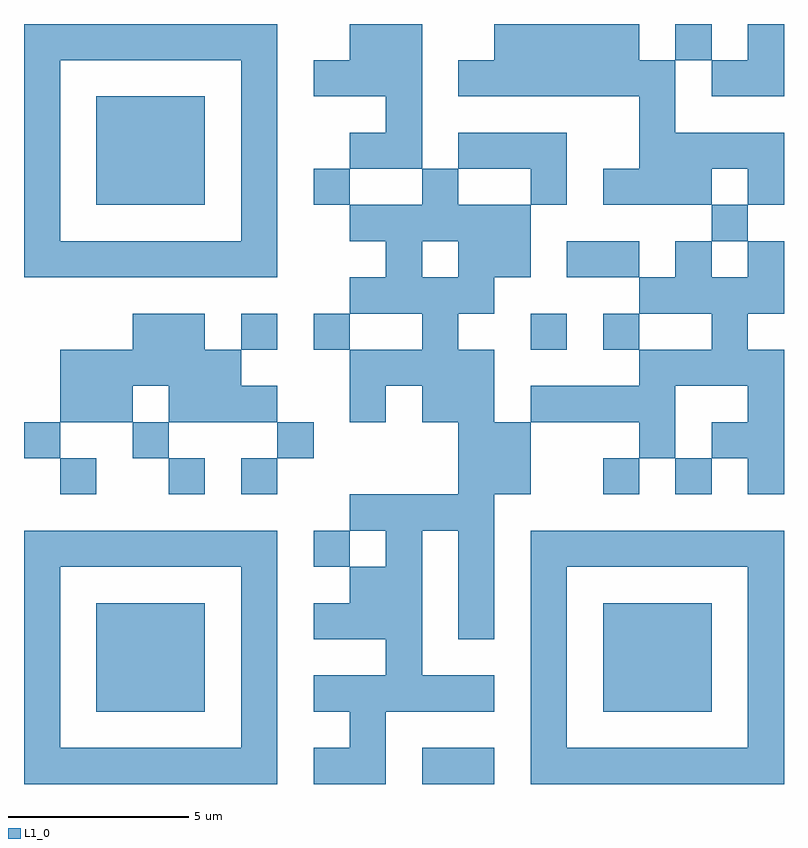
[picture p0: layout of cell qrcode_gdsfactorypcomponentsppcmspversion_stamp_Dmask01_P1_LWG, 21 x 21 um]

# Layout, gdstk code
import gdstk
lib = gdstk.Library(unit=1e-6, precision=1e-09)
def R(c, l, rs):  # rectangles x0, y0, x1, y1
    for r in rs: c.add(gdstk.rectangle(r[:2], r[2:], *l))
def P(c, l, *ps):  # polygons
    for p in ps: c.add(gdstk.Polygon(p, *l))
L1_0 = (1, 0)

qrcode_gdsfactorypcompon = lib.new_cell('qrcode_gdsfactorypcomponentsppcmspversion_stamp_Dmask01_P1_LWG')
R(qrcode_gdsfactorypcompon, L1_0, [(14.5,3.5,16.5,4.5), (5.5,5.5,8.5,8.5), (19.5,5.5,22.5,8.5), (17.5,15.5,18.5,16.5), (5.5,19.5,8.5,22.5)])
P(qrcode_gdsfactorypcompon, L1_0, [(3.5,3.5),(3.5,9.5),(4.5,9.5),(4.5,4.5),(9.5,4.5),(9.5,9.5),(3.5,9.5),(3.5,10.5),(10.5,10.5),(10.5,3.5)],
  [(17.5,3.5),(17.5,9.5),(18.5,9.5),(18.5,4.5),(23.5,4.5),(23.5,9.5),(17.5,9.5),(17.5,10.5),(24.5,10.5),(24.5,3.5)],
  [(4.5,11.5),(4.5,12.5),(3.5,12.5),(3.5,13.5),(4.5,13.5),(4.5,14.5),(6.5,14.5),(6.5,13.5),(7.5,13.5),(7.5,14.5),(4.5,14.5),(4.5,15.5),(6.5,15.5),(6.5,16.5),(8.5,16.5),(8.5,15.5),(9.5,15.5),(9.5,16.5),(10.5,16.5),(10.5,15.5),(9.5,15.5),(9.5,14.5),(10.5,14.5),(10.5,13.5),(11.5,13.5),(11.5,12.5),(10.5,12.5),(10.5,11.5),(9.5,11.5),(9.5,12.5),(10.5,12.5),(10.5,13.5),(7.5,13.5),(7.5,12.5),(8.5,12.5),(8.5,11.5),(7.5,11.5),(7.5,12.5),(6.5,12.5),(6.5,13.5),(4.5,13.5),(4.5,12.5),(5.5,12.5),(5.5,11.5)],
  [(3.5,17.5),(3.5,23.5),(4.5,23.5),(4.5,18.5),(9.5,18.5),(9.5,23.5),(3.5,23.5),(3.5,24.5),(10.5,24.5),(10.5,17.5)],
  [(11.5,3.5),(11.5,4.5),(12.5,4.5),(12.5,5.5),(11.5,5.5),(11.5,6.5),(13.5,6.5),(13.5,7.5),(11.5,7.5),(11.5,8.5),(12.5,8.5),(12.5,9.5),(11.5,9.5),(11.5,10.5),(12.5,10.5),(12.5,9.5),(13.5,9.5),(13.5,10.5),(12.5,10.5),(12.5,11.5),(15.5,11.5),(15.5,13.5),(14.5,13.5),(14.5,14.5),(13.5,14.5),(13.5,13.5),(12.5,13.5),(12.5,15.5),(11.5,15.5),(11.5,16.5),(12.5,16.5),(12.5,15.5),(14.5,15.5),(14.5,16.5),(12.5,16.5),(12.5,17.5),(13.5,17.5),(13.5,18.5),(14.5,18.5),(14.5,17.5),(15.5,17.5),(15.5,18.5),(12.5,18.5),(12.5,19.5),(11.5,19.5),(11.5,20.5),(12.5,20.5),(12.5,19.5),(14.5,19.5),(14.5,20.5),(12.5,20.5),(12.5,21.5),(13.5,21.5),(13.5,22.5),(11.5,22.5),(11.5,23.5),(12.5,23.5),(12.5,24.5),(14.5,24.5),(14.5,20.5),(15.5,20.5),(15.5,19.5),(17.5,19.5),(17.5,20.5),(15.5,20.5),(15.5,21.5),(18.5,21.5),(18.5,19.5),(17.5,19.5),(17.5,17.5),(16.5,17.5),(16.5,16.5),(15.5,16.5),(15.5,15.5),(16.5,15.5),(16.5,13.5),(17.5,13.5),(17.5,14.5),(21.5,14.5),(21.5,12.5),(22.5,12.5),(22.5,13.5),(23.5,13.5),(23.5,14.5),(20.5,14.5),(20.5,15.5),(19.5,15.5),(19.5,16.5),(20.5,16.5),(20.5,15.5),(22.5,15.5),(22.5,16.5),(20.5,16.5),(20.5,17.5),(18.5,17.5),(18.5,18.5),(20.5,18.5),(20.5,17.5),(21.5,17.5),(21.5,18.5),(22.5,18.5),(22.5,17.5),(23.5,17.5),(23.5,18.5),(22.5,18.5),(22.5,19.5),(19.5,19.5),(19.5,20.5),(22.5,20.5),(22.5,19.5),(23.5,19.5),(23.5,20.5),(20.5,20.5),(20.5,22.5),(15.5,22.5),(15.5,23.5),(16.5,23.5),(16.5,24.5),(20.5,24.5),(20.5,23.5),(21.5,23.5),(21.5,24.5),(22.5,24.5),(22.5,23.5),(23.5,23.5),(23.5,24.5),(24.5,24.5),(24.5,22.5),(22.5,22.5),(22.5,23.5),(21.5,23.5),(21.5,21.5),(24.5,21.5),(24.5,19.5),(23.5,19.5),(23.5,18.5),(24.5,18.5),(24.5,16.5),(23.5,16.5),(23.5,15.5),(24.5,15.5),(24.5,11.5),(23.5,11.5),(23.5,12.5),(22.5,12.5),(22.5,11.5),(21.5,11.5),(21.5,12.5),(20.5,12.5),(20.5,11.5),(19.5,11.5),(19.5,12.5),(20.5,12.5),(20.5,13.5),(17.5,13.5),(17.5,11.5),(16.5,11.5),(16.5,7.5),(15.5,7.5),(15.5,10.5),(14.5,10.5),(14.5,6.5),(16.5,6.5),(16.5,5.5),(13.5,5.5),(13.5,3.5)])

lib.write_gds('qrcode_gdsfactorypcomponentsppcmspversion_stamp_Dmask01_P1_LWG.gds')
